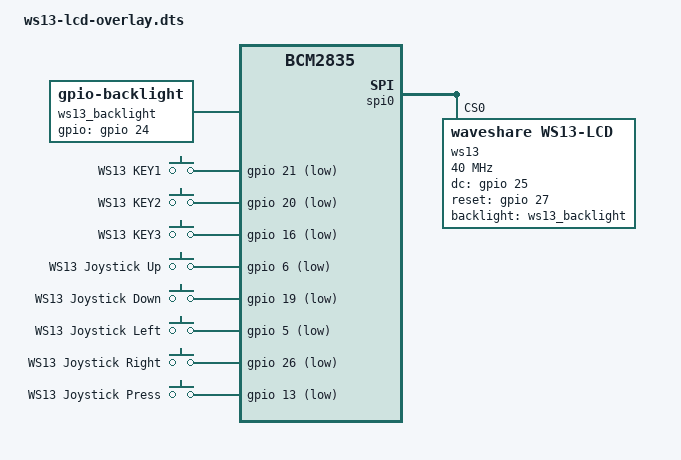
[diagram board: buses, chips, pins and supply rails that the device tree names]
/*
 * Device Tree overlay for the Waveshare 1.3inch IPS LCD HAT
 *
 * Display : ST7789VW, SPI0/CE0, DC=GPIO25, RESET=GPIO27, BL=GPIO24
 * Inputs  : KEY1=GPIO21 KEY2=GPIO20 KEY3=GPIO16
 *           Joystick UP=6 DOWN=19 LEFT=5 RIGHT=26 PRESS=13
 *           (all buttons short to GND -> active low, internal pull-ups)
 *
 * Build:
 *   dtc -@ -I dts -O dtb -o ws13-lcd.dtbo ws13-lcd-overlay.dts
 * Install:
 *   sudo cp ws13-lcd.dtbo /boot/firmware/overlays/
 *   echo "dtoverlay=ws13-lcd" | sudo tee -a /boot/firmware/config.txt
 * Parameters:
 *   dtoverlay=ws13-lcd,rotation=180,speed=40000000
 */

/dts-v1/;
/plugin/;

/ {
	compatible = "brcm,bcm2835";

	/* Enable the SPI0 controller */
	fragment@0 {
		target = <&spi0>;
		__overlay__ {
			status = "okay";
		};
	};

	/* spidev would otherwise claim CE0 */
	fragment@1 {
		target = <&spidev0>;
		__overlay__ {
			status = "disabled";
		};
	};

	/* Pin states: DC/RESET as outputs, all keys input + pull-up */
	fragment@2 {
		target = <&gpio>;
		__overlay__ {
			ws13_lcd_pins: ws13_lcd_pins {
				brcm,pins = <25 27>;
				brcm,function = <1 1>;	/* output */
			};
			ws13_key_pins: ws13_key_pins {
				brcm,pins = <21 20 16 6 19 5 26 13>;
				brcm,function = <0 0 0 0 0 0 0 0>; /* input */
				brcm,pull     = <2 2 2 2 2 2 2 2>; /* pull-up */
			};
		};
	};

	/* The panel itself */
	fragment@3 {
		target = <&spi0>;
		__overlay__ {
			#address-cells = <1>;
			#size-cells = <0>;

			ws13: ws13-lcd@0 {
				compatible = "waveshare,ws13-lcd";
				reg = <0>;	/* CE0 */
				pinctrl-names = "default";
				pinctrl-0 = <&ws13_lcd_pins>;

				/*
				 * ST7789VW serial write cycle min 16 ns
				 * => 62.5 MHz theoretical max.
				 * 40 MHz is a comfortable margin on the
				 * Pi's SPI0 clock dividers.
				 */
				spi-max-frequency = <40000000>;

				dc-gpios    = <&gpio 25 0>;	/* active high */
				reset-gpios = <&gpio 27 0>;	/* active low  */
				backlight   = <&ws13_backlight>;
				rotation    = <0>;
			};
		};
	};

	/* Backlight (simple on/off via GPIO24) and the input devices */
	fragment@4 {
		target-path = "/";
		__overlay__ {
			ws13_backlight: ws13_backlight {
				compatible = "gpio-backlight";
				gpios = <&gpio 24 0>;
				default-on;
			};

			ws13_keys: ws13-keys {
				compatible = "gpio-keys";
				pinctrl-names = "default";
				pinctrl-0 = <&ws13_key_pins>;
				autorepeat;

				key1 {
					label = "WS13 KEY1";
					linux,code = <30>;		/* KEY_A */
					gpios = <&gpio 21 1>;		/* active low */
				};
				key2 {
					label = "WS13 KEY2";
					linux,code = <48>;		/* KEY_B */
					gpios = <&gpio 20 1>;
				};
				key3 {
					label = "WS13 KEY3";
					linux,code = <46>;		/* KEY_C */
					gpios = <&gpio 16 1>;
				};
				joy-up {
					label = "WS13 Joystick Up";
					linux,code = <103>;		/* KEY_UP */
					gpios = <&gpio 6 1>;
				};
				joy-down {
					label = "WS13 Joystick Down";
					linux,code = <108>;		/* KEY_DOWN */
					gpios = <&gpio 19 1>;
				};
				joy-left {
					label = "WS13 Joystick Left";
					linux,code = <105>;		/* KEY_LEFT */
					gpios = <&gpio 5 1>;
				};
				joy-right {
					label = "WS13 Joystick Right";
					linux,code = <106>;		/* KEY_RIGHT */
					gpios = <&gpio 26 1>;
				};
				joy-press {
					label = "WS13 Joystick Press";
					linux,code = <28>;		/* KEY_ENTER */
					gpios = <&gpio 13 1>;
				};
			};
		};
	};

	__overrides__ {
		rotation = <&ws13>, "rotation:0";
		speed    = <&ws13>, "spi-max-frequency:0";
	};
};
